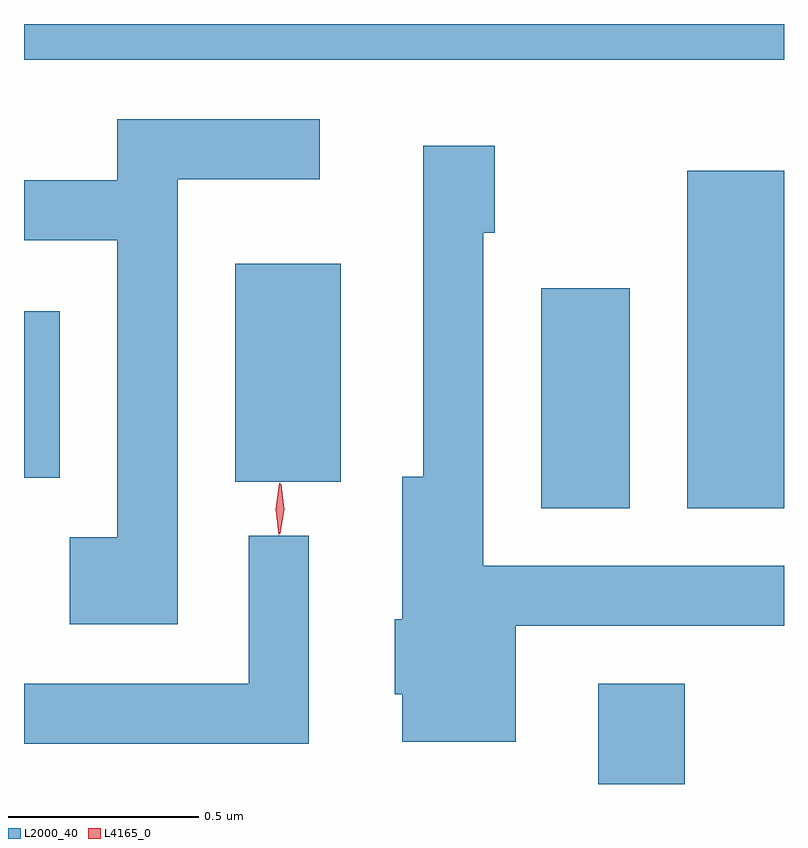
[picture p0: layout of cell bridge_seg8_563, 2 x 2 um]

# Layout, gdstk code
import gdstk
lib = gdstk.Library(unit=1e-6, precision=1e-09)
def R(c, l, rs):  # rectangles x0, y0, x1, y1
    for r in rs: c.add(gdstk.rectangle(r[:2], r[2:], *l))
def P(c, l, *ps):  # polygons
    for p in ps: c.add(gdstk.Polygon(p, *l))
L2000_40 = (2000, 40)
L4165_0 = (4165, 0)

bridge_seg8_563 = lib.new_cell('bridge_seg8_563')
R(bridge_seg8_563, L2000_40, [(458.151,1847.83,458.379,1848.094), (458.001,1848.556,458.234,1849.134), (458.386,1848.556,458.64,1849.444), (457.196,1848.626,457.474,1849.199), (456.64,1848.636,456.734,1849.074), (456.64,1849.736,458.64,1849.83)])
P(bridge_seg8_563, L2000_40, [(457.044,1849.421),(457.418,1849.421),(457.418,1849.579),(456.886,1849.579),(456.886,1849.419),(456.64,1849.419),(456.64,1849.261),(456.886,1849.261),(456.886,1848.479),(456.761,1848.479),(456.761,1848.251),(457.044,1848.251)],
  [(457.934,1848.246),(458.64,1848.246),(458.64,1848.404),(457.849,1848.404),(457.849,1849.281),(457.879,1849.281),(457.879,1849.509),(457.691,1849.509),(457.691,1848.639),(457.636,1848.639),(457.636,1848.264),(457.616,1848.264),(457.616,1848.066),(457.636,1848.066),(457.636,1847.941),(457.934,1847.941)],
  [(457.389,1848.483),(457.231,1848.483),(457.231,1848.094),(456.64,1848.094),(456.64,1847.936),(457.389,1847.936)])
P(bridge_seg8_563, L4165_0, [(457.312,1848.488),(457.305,1848.554),(457.316,1848.619),(457.317,1848.619),(457.317,1848.619),(457.325,1848.553),(457.314,1848.488),(457.313,1848.488)],
  [(457.31,1848.484),(457.31,1848.485),(457.302,1848.553),(457.312,1848.621),(457.313,1848.622),(457.314,1848.621),(457.322,1848.553),(457.311,1848.485)])

lib.write_gds('bridge_seg8_563.gds')
